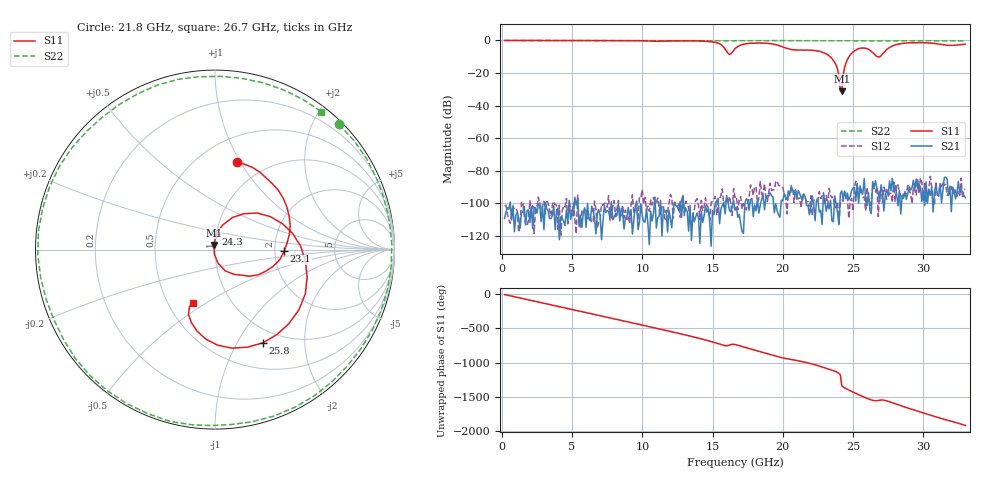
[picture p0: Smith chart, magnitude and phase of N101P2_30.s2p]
# GHZ S RI R 50
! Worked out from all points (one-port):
!   329 points, 200 MHz to 33 GHz, reference 50 ohm
!   lowest |S11| = -31.3 dB at 24.2 GHz (marker M1), VSWR 1.06, Z = 49.4 + j2.61 ohm
!   |S11| at or under -10 dB: 23.37 GHz to 24.71 GHz (1.343 GHz wide, 5.59 % of centre); 26.75 GHz to 26.9 GHz (153.4 MHz wide, 0.572 % of centre)
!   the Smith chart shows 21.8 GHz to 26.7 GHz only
!   S11 on the Smith chart (normalised r, x): 21.8 GHz: 0.74, +0.97; 23.1 GHz: 2.25, -0.05; 24.3 GHz: 1.00, +0.18; 25.8 GHz: 0.82, -1.29; 26.7 GHz: 0.66, -0.44
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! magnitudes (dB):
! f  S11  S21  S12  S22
! 200 MHz  0.0  -109.3  -101.7  0.0
! 5.7 GHz  -0.1  -114.9  -104.8  -0.1
! 11.2 GHz  -0.5  -107.8  -103.5  -0.1
! 15.2 GHz  -1.2  -100.1  -95.8  -0.2
! 16.2 GHz  -8.6  -104.2  -95.9  -0.2
! 16.6 GHz  -5.1  -104.3  -96.5  -0.2
! 18.5 GHz  -1.6  -97.5  -94.7  -0.1
! 21.8 GHz  -5.9  -101.5  -99.0  -0.2
! 22.1 GHz  -6.1  -95.5  -107.3  -0.1
! 23.1 GHz  -8.3  -104.9  -95.2  -0.1
! 23.8 GHz  -15.2  -100.8  -102.0  -0.1
! 24 GHz  -22.2  -113.1  -113.6  -0.1
! 24.1 GHz  -31.1  -94.1  -98.9  -0.1
! 24.2 GHz  -31.3  -92.3  -98.1  -0.1
! 24.3 GHz  -21.1  -97.6  -98.8  -0.1
! 24.5 GHz  -13.8  -97.2  -95.0  -0.2
! 24.8 GHz  -8.9  -95.9  -98.9  -0.1
! 25.8 GHz  -4.7  -84.8  -96.1  -0.3
! 26.7 GHz  -9.9  -90.9  -89.8  -0.3
! 27.6 GHz  -4.3  -86.4  -93.9  -0.2
! 29.2 GHz  -1.4  -90.6  -100.2  -0.2
! 33 GHz  -2.3  -96.6  -91.5  -0.3
